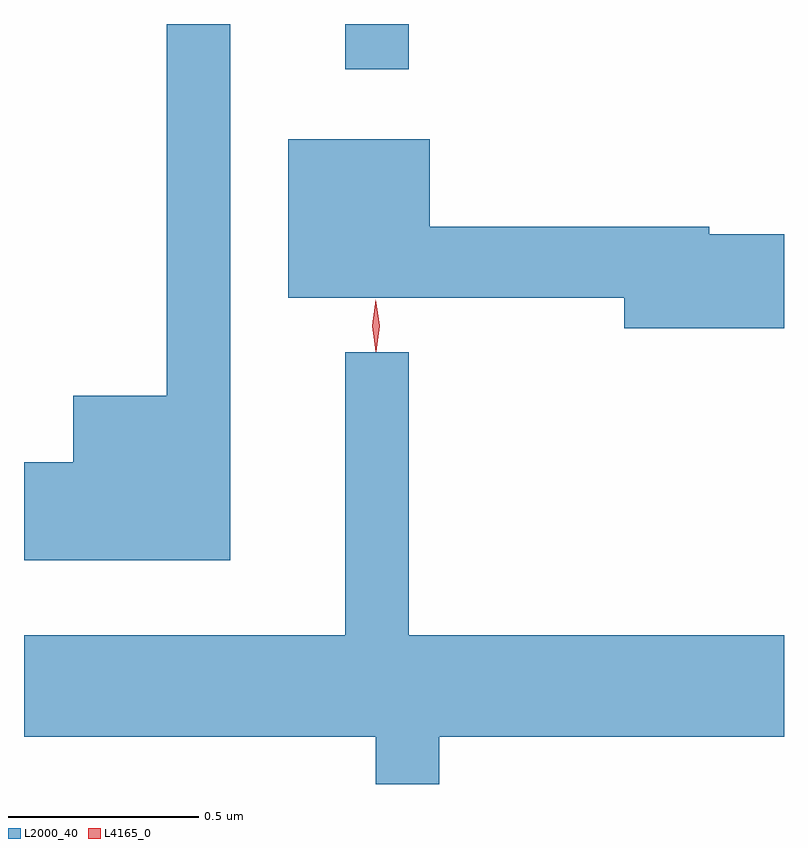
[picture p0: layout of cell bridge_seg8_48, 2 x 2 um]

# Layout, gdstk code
import gdstk
lib = gdstk.Library(unit=1e-6, precision=1e-09)
def R(c, l, rs):  # rectangles x0, y0, x1, y1
    for r in rs: c.add(gdstk.rectangle(r[:2], r[2:], *l))
def P(c, l, *ps):  # polygons
    for p in ps: c.add(gdstk.Polygon(p, *l))
L2000_40 = (2000, 40)
L4165_0 = (4165, 0)

bridge_seg8_48 = lib.new_cell('bridge_seg8_48')
R(bridge_seg8_48, L2000_40, [(1610.171,1880.353,1610.339,1880.472)])
P(bridge_seg8_48, L2000_40, [(1609.869,1880.472),(1609.701,1880.472),(1609.701,1879.494),(1609.456,1879.494),(1609.456,1879.319),(1609.326,1879.319),(1609.326,1879.061),(1609.869,1879.061)],
  [(1611.326,1879.919),(1611.129,1879.919),(1611.129,1879.939),(1610.394,1879.939),(1610.394,1880.169),(1610.021,1880.169),(1610.021,1879.751),(1610.906,1879.751),(1610.906,1879.671),(1611.326,1879.671)],
  [(1610.419,1878.596),(1611.326,1878.596),(1611.326,1878.864),(1610.339,1878.864),(1610.339,1879.608),(1610.171,1879.608),(1610.171,1878.864),(1609.326,1878.864),(1609.326,1878.596),(1610.251,1878.596),(1610.251,1878.472),(1610.419,1878.472)])
P(bridge_seg8_48, L4165_0, [(1610.252,1879.613),(1610.242,1879.677),(1610.252,1879.741),(1610.252,1879.741),(1610.252,1879.741),(1610.262,1879.677),(1610.253,1879.613),(1610.253,1879.613)],
  [(1610.252,1879.61),(1610.242,1879.678),(1610.252,1879.746),(1610.252,1879.746),(1610.252,1879.746),(1610.262,1879.678),(1610.253,1879.61),(1610.253,1879.61)])

lib.write_gds('bridge_seg8_48.gds')
